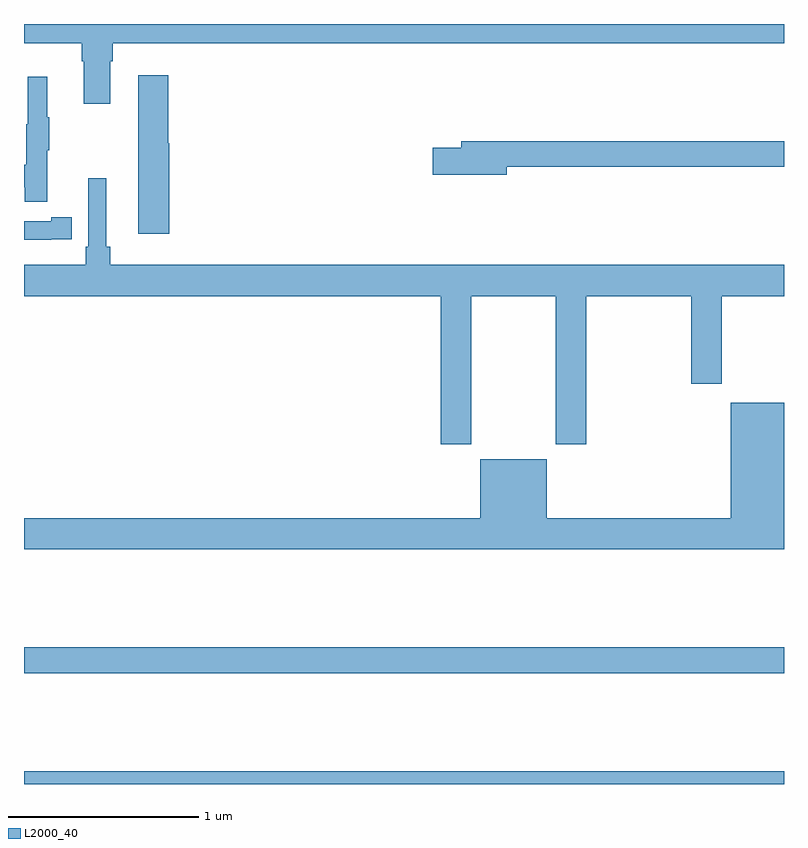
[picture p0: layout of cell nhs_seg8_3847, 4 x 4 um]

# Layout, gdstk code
import gdstk
lib = gdstk.Library(unit=1e-6, precision=1e-09)
def R(c, l, rs):  # rectangles x0, y0, x1, y1
    for r in rs: c.add(gdstk.rectangle(r[:2], r[2:], *l))
def P(c, l, *ps):  # polygons
    for p in ps: c.add(gdstk.Polygon(p, *l))
L2000_40 = (2000, 40)

nhs_seg8_3847 = lib.new_cell('nhs_seg8_3847')
R(nhs_seg8_3847, L2000_40, [(347,1145.9,351,1145.968), (347,1146.484,351,1146.62)])
P(nhs_seg8_3847, L2000_40, [(347.455,1149.704),(347.468,1149.704),(347.468,1149.8),(351,1149.8),(351,1149.9),(347,1149.9),(347,1149.8),(347.303,1149.8),(347.303,1149.704),(347.315,1149.704),(347.315,1149.48),(347.455,1149.48)],
  [(347.764,1149.273),(347.759,1149.273),(347.759,1149.631),(347.6,1149.631),(347.6,1148.796),(347.764,1148.796)],
  [(347.123,1149.235),(347.134,1149.235),(347.134,1149.409),(347.123,1149.409),(347.123,1149.622),(347.02,1149.622),(347.02,1149.372),(347.013,1149.372),(347.013,1149.158),(347,1149.158),(347,1149.042),(347.005,1149.042),(347.005,1148.964),(347.123,1148.964)],
  [(349.54,1149.148),(351,1149.148),(351,1149.284),(349.301,1149.284),(349.301,1149.248),(349.152,1149.248),(349.152,1149.106),(349.54,1149.106)],
  [(349.353,1148.468),(349.798,1148.468),(349.798,1147.689),(349.958,1147.689),(349.958,1148.468),(350.513,1148.468),(350.513,1148.007),(350.673,1148.007),(350.673,1148.468),(351,1148.468),(351,1148.632),(347.453,1148.632),(347.453,1148.728),(347.434,1148.728),(347.434,1149.088),(347.337,1149.088),(347.337,1148.728),(347.324,1148.728),(347.324,1148.632),(347,1148.632),(347,1148.468),(349.193,1148.468),(349.193,1147.689),(349.353,1147.689)],
  [(347.144,1148.766),(347.252,1148.766),(347.252,1148.882),(347.144,1148.882),(347.144,1148.862),(347,1148.862),(347,1148.765),(347.144,1148.765)],
  [(349.4,1147.609),(349.4,1147.3),(347,1147.3),(347,1147.136),(351,1147.136),(351,1147.906),(350.72,1147.906),(350.72,1147.3),(349.75,1147.3),(349.75,1147.609)])

lib.write_gds('nhs_seg8_3847.gds')
